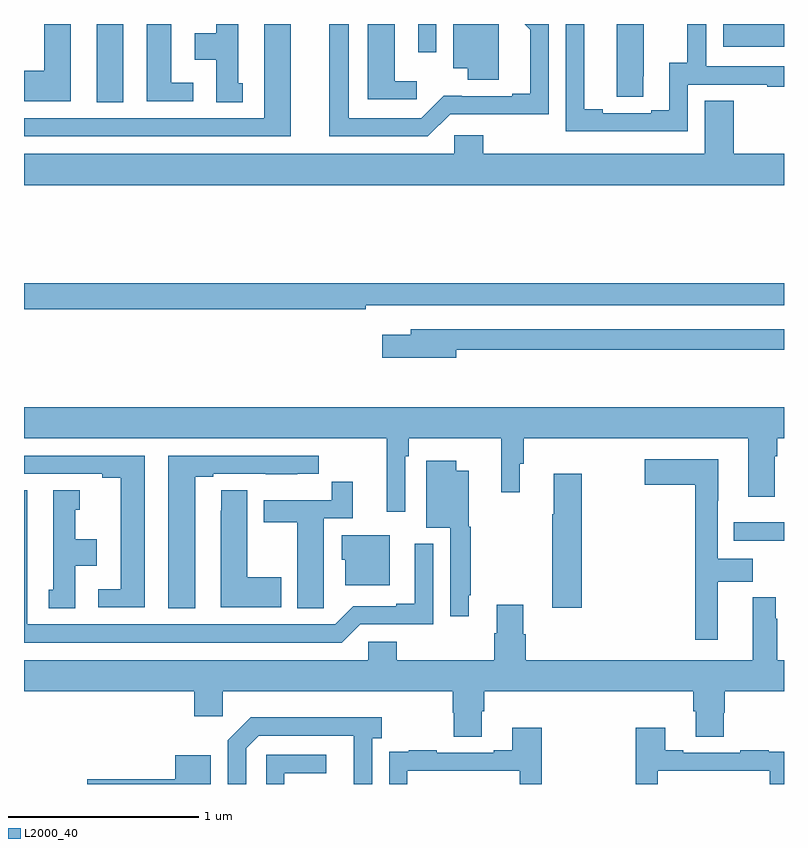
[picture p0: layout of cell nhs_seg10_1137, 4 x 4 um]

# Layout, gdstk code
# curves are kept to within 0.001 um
import gdstk
lib = gdstk.Library(unit=1e-6, precision=1e-09)
def R(c, l, rs):  # rectangles x0, y0, x1, y1
    for r in rs: c.add(gdstk.rectangle(r[:2], r[2:], *l))
def P(c, l, *ps):  # polygons
    for p in ps: c.add(gdstk.Polygon(p, *l))
L2000_40 = (2000, 40)

nhs_seg10_1137 = lib.new_cell('nhs_seg10_1137')
R(nhs_seg10_1137, L2000_40, [(172.735,1295.781,173,1295.878), (169.382,1298.089,169.522,1298.5), (171.075,1298.352,171.171,1298.5), (172.68,1298.381,173,1298.5)])
P(nhs_seg10_1137, L2000_40, [(172.494,1298.181),(172.913,1298.181),(172.913,1298.169),(173,1298.169),(173,1298.277),(172.59,1298.277),(172.59,1298.5),(172.492,1298.5),(172.492,1298.297),(172.397,1298.297),(172.397,1298.046),(172.301,1298.046),(172.301,1298.031),(172.045,1298.031),(172.045,1298.051),(171.949,1298.051),(171.949,1298.5),(171.852,1298.5),(171.852,1297.935),(172.494,1297.935)],
  [(170.404,1298.5),(170.264,1298.5),(170.264,1298.004),(169,1298.004),(169,1297.908),(170.404,1297.908)],
  [(169.246,1298.5),(169.106,1298.5),(169.106,1298.253),(169,1298.253),(169,1298.093),(169.246,1298.093)],
  [(171.499,1298.5),(171.26,1298.5),(171.26,1298.267),(171.335,1298.267),(171.335,1298.206),(171.499,1298.206)],
  [(172.26,1298.224),(172.261,1298.224),(172.261,1298.5),(172.121,1298.5),(172.121,1298.116),(172.26,1298.116)],
  [(169.891,1298.19),(169.774,1298.19),(169.774,1298.5),(169.646,1298.5),(169.646,1298.094),(169.891,1298.094)],
  [(171.243,1298.025),(171.762,1298.024),(171.762,1298.5),(171.635,1298.5),(171.665,1298.47),(171.665,1298.134),(171.569,1298.134),(171.569,1298.121),(171.208,1298.122),(171.09,1298.004),(170.71,1298.004),(170.71,1298.5),(170.606,1298.5),(170.606,1297.908),(171.126,1297.908)],
  [(170.152,1298.187),(170.128,1298.187),(170.128,1298.5),(170.012,1298.5),(170.012,1298.452),(169.898,1298.452),(169.898,1298.312),(170.012,1298.312),(170.012,1298.089),(170.152,1298.089)],
  [(171.067,1298.2),(170.95,1298.2),(170.95,1298.5),(170.81,1298.5),(170.81,1298.103),(171.067,1298.103)],
  [(173,1297.816),(172.736,1297.816),(172.736,1298.096),(172.583,1298.096),(172.583,1297.816),(171.416,1297.816),(171.416,1297.914),(171.264,1297.914),(171.264,1297.816),(169,1297.816),(169,1297.652),(173,1297.652)],
  [(170.798,1297.02),(173,1297.02),(173,1297.136),(169,1297.136),(169,1297),(170.798,1297)],
  [(171.274,1296.786),(173,1296.786),(173,1296.894),(171.035,1296.894),(171.035,1296.865),(170.886,1296.865),(170.886,1296.743),(171.274,1296.743)],
  [(171.006,1296.224),(171.026,1296.224),(171.026,1296.32),(171.511,1296.32),(171.511,1296.036),(171.61,1296.036),(171.61,1296.186),(171.629,1296.186),(171.629,1296.32),(172.811,1296.32),(172.811,1296.012),(172.951,1296.012),(172.951,1296.224),(172.964,1296.224),(172.964,1296.32),(173,1296.32),(173,1296.484),(169,1296.484),(169,1296.32),(170.909,1296.32),(170.909,1295.934),(171.006,1295.934)],
  [(169.636,1296.228),(169,1296.228),(169,1296.132),(169.412,1296.132),(169.412,1296.112),(169.508,1296.112),(169.508,1295.526),(169.392,1295.526),(169.392,1295.43),(169.636,1295.43)],
  [(169.9,1296.117),(169.996,1296.117),(169.996,1296.132),(170.272,1296.132),(170.272,1296.131),(170.438,1296.131),(170.438,1296.132),(170.551,1296.132),(170.551,1296.228),(169.76,1296.228),(169.76,1295.425),(169.9,1295.425)],
  [(172.652,1295.564),(172.835,1295.564),(172.835,1295.686),(172.65,1295.686),(172.65,1295.99),(172.654,1295.99),(172.654,1296.208),(172.266,1296.208),(172.266,1296.074),(172.534,1296.074),(172.534,1295.259),(172.652,1295.259)],
  [(171.34,1295.494),(171.352,1295.494),(171.352,1295.853),(171.34,1295.853),(171.34,1296.148),(171.274,1296.148),(171.274,1296.202),(171.116,1296.202),(171.116,1295.849),(171.243,1295.849),(171.243,1295.382),(171.34,1295.382)],
  [(171.935,1296.133),(171.788,1296.133),(171.788,1295.92),(171.781,1295.92),(171.781,1295.427),(171.935,1295.427)],
  [(170.577,1295.536),(170.578,1295.536),(170.578,1295.898),(170.729,1295.898),(170.729,1296.091),(170.62,1296.091),(170.62,1295.994),(170.261,1295.994),(170.261,1295.878),(170.438,1295.878),(170.438,1295.425),(170.577,1295.425)],
  [(170.353,1295.589),(170.176,1295.589),(170.176,1296.047),(170.037,1296.047),(170.037,1295.939),(170.036,1295.939),(170.036,1295.429),(170.353,1295.429)],
  [(170.769,1295.34),(171.153,1295.34),(171.153,1295.764),(171.056,1295.764),(171.056,1295.449),(170.96,1295.449),(170.96,1295.436),(170.733,1295.436),(170.637,1295.34),(169.018,1295.34),(169.018,1296.046),(169,1296.046),(169,1295.244),(170.673,1295.244)],
  [(169.27,1295.648),(169.384,1295.648),(169.384,1295.788),(169.27,1295.788),(169.27,1295.943),(169.294,1295.943),(169.294,1296.046),(169.154,1296.046),(169.154,1295.523),(169.13,1295.523),(169.13,1295.425),(169.27,1295.425)],
  [(170.926,1295.809),(170.672,1295.809),(170.672,1295.679),(170.69,1295.679),(170.69,1295.546),(170.926,1295.546)],
  [(171.409,1294.882),(171.422,1294.882),(171.422,1294.988),(172.523,1294.988),(172.523,1294.882),(172.535,1294.882),(172.535,1294.75),(172.683,1294.75),(172.683,1294.875),(172.688,1294.875),(172.688,1294.988),(173,1294.988),(173,1295.152),(172.965,1295.152),(172.965,1295.369),(172.957,1295.369),(172.957,1295.482),(172.835,1295.482),(172.835,1295.152),(171.641,1295.152),(171.641,1295.289),(171.628,1295.289),(171.628,1295.443),(171.488,1295.443),(171.488,1295.294),(171.476,1295.294),(171.476,1295.152),(170.963,1295.152),(170.963,1295.25),(170.811,1295.25),(170.811,1295.152),(169,1295.152),(169,1294.988),(169.895,1294.988),(169.895,1294.857),(170.046,1294.857),(170.046,1294.988),(171.257,1294.988),(171.257,1294.875),(171.262,1294.875),(171.262,1294.75),(171.409,1294.75)],
  [(170.169,1294.689),(170.235,1294.755),(170.735,1294.755),(170.736,1294.5),(170.832,1294.5),(170.832,1294.742),(170.884,1294.742),(170.884,1294.852),(170.194,1294.852),(170.073,1294.731),(170.073,1294.5),(170.169,1294.5)],
  [(172.335,1294.569),(172.926,1294.569),(172.926,1294.5),(173,1294.5),(173,1294.671),(172.919,1294.671),(172.919,1294.678),(172.771,1294.678),(172.771,1294.665),(172.471,1294.665),(172.471,1294.678),(172.375,1294.678),(172.375,1294.795),(172.219,1294.795),(172.219,1294.5),(172.335,1294.5)],
  [(171.018,1294.569),(171.609,1294.569),(171.609,1294.5),(171.725,1294.5),(171.725,1294.795),(171.569,1294.795),(171.569,1294.678),(171.473,1294.678),(171.473,1294.665),(171.173,1294.665),(171.173,1294.678),(171.025,1294.678),(171.025,1294.671),(170.923,1294.671),(170.923,1294.562),(170.922,1294.562),(170.922,1294.5),(171.018,1294.5)],
  [(170.37,1294.557),(170.59,1294.557),(170.59,1294.653),(170.274,1294.653),(170.274,1294.5),(170.37,1294.5)],
  [(169.984,1294.651),(169.796,1294.651),(169.796,1294.524),(169.332,1294.524),(169.332,1294.5),(169.984,1294.5)])

lib.write_gds('nhs_seg10_1137.gds')
